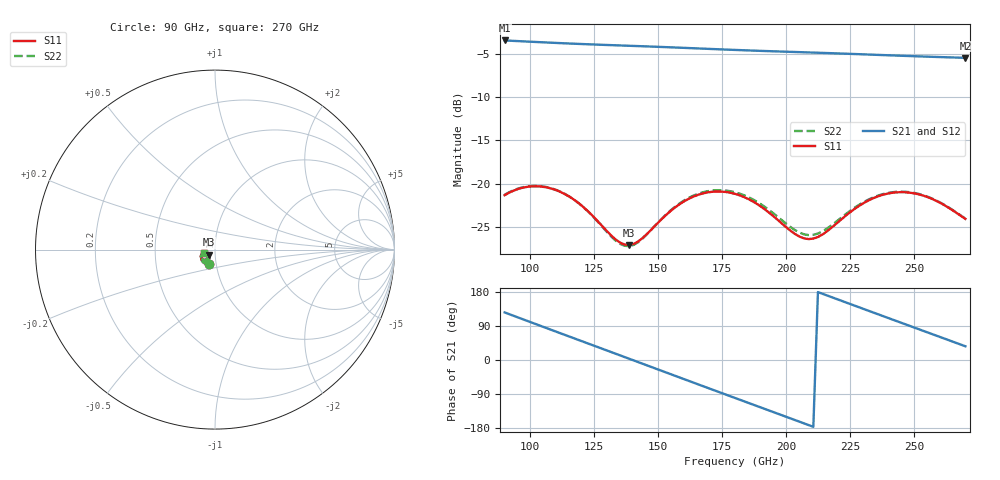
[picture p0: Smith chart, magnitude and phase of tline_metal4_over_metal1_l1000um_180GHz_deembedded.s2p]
! Created with skrf 2.2.0 (http://scikit-rf.org).
# GHz S DB R 50.0
! Port[1] = P1
! Port[2] = P2
!freq dBS11 angS11 dBS21 angS21 dBS12 angS12 dBS22 angS22
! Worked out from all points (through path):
!   101 points, 90 GHz to 270 GHz, reference 50 ohm
!   highest |S21| = -3.45 dB at 90 GHz (marker M1); lowest = -5.5 dB at 270 GHz (marker M2)
!   group delay of S21, straight-line fit = 6.93 ps
!   lowest |S11| = -27.1 dB at 138.6 GHz (marker M3), VSWR 1.09, Z = 46.6 - j2.56 ohm
!   |S11| at or under -10 dB: start of sweep to end of sweep
!   |S22| runs from -27.2 to -20.3 dB; largest |S21 - S12| = 6.9e-14
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90  -21.35 -113.9  -3.45 125.6  -3.45 125.6  -21.30 -113.1
97.2  -20.47 -125.5  -3.55 107.3  -3.55 107.3  -20.42 -124.8
104.4  -20.35 -137.7  -3.65 89.2  -3.65 89.2  -20.31 -137.1
111.6  -20.94 -149.0  -3.75 71.1  -3.75 71.1  -20.92 -148.5
120.6  -22.68 -159.4  -3.86 48.6  -3.86 48.6  -22.69 -159.0
129.6  -25.39 -159.7  -3.97 26.0  -3.97 26.0  -25.48 -159.0
138.6  -27.12 -141.6  -4.06 3.5  -4.06 3.5  -27.25 -139.9
151.2  -24.16 -123.6  -4.20 -28.2  -4.20 -28.2  -24.12 -121.4
165.6  -21.31 -135.0  -4.37 -64.3  -4.37 -64.3  -21.18 -132.9
172.8  -20.92 -144.3  -4.46 -82.2  -4.46 -82.2  -20.77 -142.3
180  -21.20 -153.5  -4.54 -100.2  -4.54 -100.2  -21.01 -151.4
187.2  -22.11 -161.0  -4.62 -118.1  -4.62 -118.1  -21.87 -158.9
196.2  -24.08 -164.7  -4.71 -140.5  -4.71 -140.5  -23.74 -162.7
205.2  -26.14 -155.4  -4.80 -162.9  -4.80 -162.9  -25.68 -154.4
210.6  -26.37 -144.1  -4.85 -176.3  -4.85 -176.3  -25.94 -144.2
217.8  -25.09 -132.8  -4.92 165.7  -4.92 165.7  -24.81 -133.4
225  -23.31 -130.7  -5.00 147.8  -5.00 147.8  -23.16 -131.1
234  -21.70 -136.4  -5.10 125.4  -5.10 125.4  -21.61 -136.4
241.2  -21.08 -143.8  -5.18 107.5  -5.18 107.5  -21.01 -143.6
248.4  -21.06 -151.7  -5.25 89.7  -5.25 89.7  -21.01 -151.3
255.6  -21.61 -158.7  -5.32 71.8  -5.32 71.8  -21.56 -158.1
270  -24.09 -162.6  -5.46 36.2  -5.46 36.2  -24.06 -161.6
